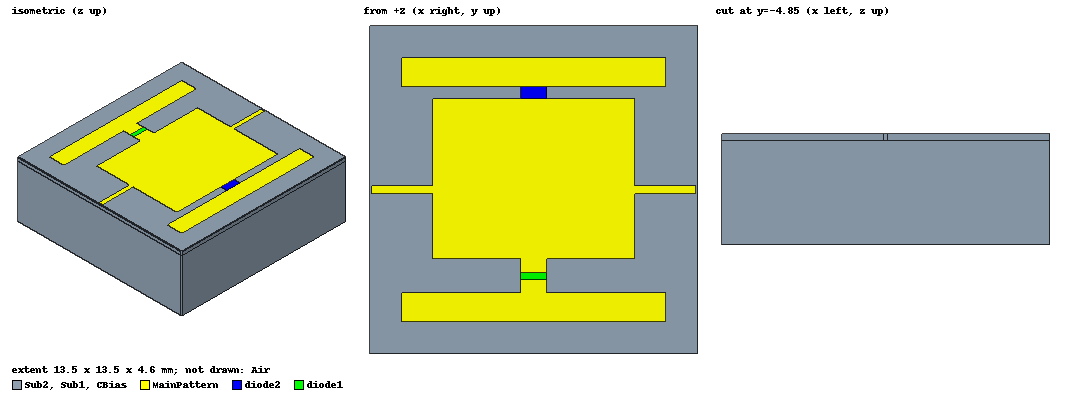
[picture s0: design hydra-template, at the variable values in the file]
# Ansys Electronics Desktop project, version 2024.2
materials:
  FR4_epoxy: permittivity=4.4 dielectric_loss_tangent=0.02
  pec: conductivity=1e+30
  vacuum: permittivity=1

design hydra-template (HFSS, HFSS Modal Network, model units mm)
options: Save_Adaptive_support_files
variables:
  p = 13.5mm  # Width or length of the square subsrate, spacing between elements
  h1 = 4.3mm  # Thickness of the lower layer subsrate. The surface uses two layers of substrate, one upper thiner for PCB wiring, and one thicker to create space between pattern and ground plane.
  h2 = 0.3mm  # Thickness of the upper layer substrate, above which we have surface pattern, below which we have biasing wires for diodes
  l1 = 10.9mm  # Length of the entire metallic patch, along Y axis, parallel to the polarization direction
  l3 = 1.1mm  # Width of the connection between center patch and two small arms. There are one upper arm and one lower arm next to the center patch, connected by PIN diodes, so that we can control reflected phase with diodes on or off.
  l4 = 8.3mm  # Width of the center patch
  w3 = 1.1mm  # Lower side of the Gap between center patch and upper arm
  w5 = 1.2mm  # Upper side Gap between center patch and upper arm
  w6 = 1.2mm  # Length of the two arms, above and below main patch
  rb = 0.1mm  # radius of the via, for biasing wire connection to diodes
  s = 0.3mm  # one third of the between two endsof the diode
  Long = 22mm  # The extra length or height of the simulation box, above and below the surface, typically around half of the wavelength
  phi_scan = 0deg  # incident angle, not used
  theta_scan = 0deg  # incident angle, not used
  wide = 0.15mm  # Width of the diode biasing wires, fixed, not affected by frequencies
  n = 1  # Scaling factor for many physical dimensions, not usd, stay fixed at 1!
  next = 0.1mm  # extra gap space for the diode at lower arm.
  capacitance2 = 0.21pF  # Capacitance of diode 2
  capacitance1 = 0pF  # capacitance of the diode 1, 0pF for turned on, 0.21pF for turned off
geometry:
  Sub2 [FR4_epoxy] = box(corner=(-p/2, -p/2, 0mm), size=(p, p, h1))
  GND = rectangle(corner=(-p/2, -p/2, 0), x_size=p, y_size=p)
  Sub1 [FR4_epoxy] = box(corner=(-p/2, -p/2, h1), size=(p, p, h2))
  left = rectangle(corner=(-l1/2, -l1/2, h1+h2), x_size=l1, y_size=w6)
  right = rectangle(corner=(-l1/2, l1/2-w6, h1+h2), x_size=l1, y_size=w6)
  CBias [pec] = cylinder(axis=Z, base_centre=(0, -l1/2+w6/2, h1), radius=rb, height=h2)
  CBias1 [pec] = cylinder(axis=Z, base_centre=(0, l1/2-w6/2, h1), radius=rb, height=h2)
  MainPattern = rectangle(corner=(-l4/2, -l1/2+w6+s+w3/2, h1+h2), x_size=l4, y_size=l1-w6*2-s-w3/2-s-next*2)
  land1 = rectangle(corner=(-l4/2, -l1/2+w5+s, h1+h2), x_size=(l4-l3)/2, y_size=w3)
  land2 = rectangle(corner=(l4/2-(l4-l3)/2, -l1/2+w5+s, h1+h2), x_size=(l4-l3)/2, y_size=w3)
  Air [vacuum] = box(corner=(-p/2, -p/2, -Long), size=(p, p, Long*2+h2+h1))
  line = rectangle(corner=(-p/2+wide/2, -wide, h1+h2), x_size=p-wide, y_size=wide*2)
  tu = rectangle(corner=(-l3/2, -l1/2+w6, h1+h2), x_size=l3, y_size=w3/2)
  [Sub2, GND, Sub1, CBias, CBias1, Air].scale(n, n, n)
  powercircle = circle(normal=Z, centre=(0mm, -l1/2+w6/2, h1), radius=rb+0.1mm)
  powerline = rectangle(corner=(-p/2+wide/2, -l1/2+w6/2-wide/2, h1), x_size=p-wide, y_size=wide)
  powerline1 = rectangle(corner=(-p/2+wide/2, -l1/2+w6/2-wide/2+wide*2+wide/2, h1), x_size=p-wide, y_size=wide)
  powerline2 = rectangle(corner=(-p/2+wide/2, -l1/2+w6/2-wide/2+wide*4+wide/2, h1), x_size=p-wide, y_size=wide)
  powerline3 = rectangle(corner=(-p/2+wide/2, -l1/2+w6/2-wide/2+wide*6+wide/2, h1), x_size=p-wide, y_size=wide)
  powerline4 = rectangle(corner=(-p/2+wide/2, -l1/2+w6/2-wide-wide*2, h1), x_size=p-wide, y_size=wide)
  powerline5 = rectangle(corner=(-p/2+wide/2, -l1/2+w6/2-wide-wide*4, h1), x_size=p-wide, y_size=wide)
  powerline6 = rectangle(corner=(-p/2+wide/2, -l1/2+w6/2-wide-wide*6, h1), x_size=p-wide, y_size=wide)
  powerline7 = rectangle(corner=(-p/2+wide/2, -l1/2+w6/2-wide-wide*8, h1), x_size=p-wide, y_size=wide)
  powercircle.unite(powerline, powerline1..powerline7)
  powercircle.scale(n, n, n)
  powercircle1 = circle(normal=Z, centre=(0mm, -l1/2+w6/2, h1), radius=rb+0.1mm)
  powerline8 = rectangle(corner=(-p/2+wide/2, -l1/2+w6/2-wide/2, h1), x_size=p-wide, y_size=wide)
  powerline9 = rectangle(corner=(-p/2+wide/2, -l1/2+w6/2-wide/2+wide*2+wide/2, h1), x_size=p-wide, y_size=wide)
  powerline10 = rectangle(corner=(-p/2+wide/2, -l1/2+w6/2-wide/2+wide*4+wide/2, h1), x_size=p-wide, y_size=wide)
  powerline11 = rectangle(corner=(-p/2+wide/2, -l1/2+w6/2-wide/2+wide*6+wide/2, h1), x_size=p-wide, y_size=wide)
  powerline12 = rectangle(corner=(-p/2+wide/2, -l1/2+w6/2-wide-wide*2, h1), x_size=p-wide, y_size=wide)
  powerline13 = rectangle(corner=(-p/2+wide/2, -l1/2+w6/2-wide-wide*4, h1), x_size=p-wide, y_size=wide)
  powerline14 = rectangle(corner=(-p/2+wide/2, -l1/2+w6/2-wide-wide*6, h1), x_size=p-wide, y_size=wide)
  powerline15 = rectangle(corner=(-p/2+wide/2, -l1/2+w6/2-wide-wide*8, h1), x_size=p-wide, y_size=wide)
  powercircle1.unite(powerline8..powerline15)
  powercircle1.rotate(axis=Z, angle=180deg)
  powercircle1.scale(n, n, n)
  diode2 = rectangle(corner=(-l3/2, l1/2-w6-next*2-s, h1+h2), x_size=l3, y_size=s+next*2)
  diode2.scale(n, n, n)
  diode1 = rectangle(corner=(-l3/2, -l1/2+w6+w3/2, h1+h2), x_size=l3, y_size=s)
  diode1.scale(n, n, n)
  MainPattern.subtract(land1, land2)
  MainPattern.unite(tu, left, line, right)
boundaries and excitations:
  PerfE1: Perfect E Objects=[GND, MainPattern]
  Master1: Primary Faces=Air.face(+x) CoordSysVector{(6.75, -6.75, -22) -> (6.75, 6.75, -22)} ReverseV
  Slave1: Secondary Faces=Air.face(-x) CoordSysVector{(-6.75, -6.75, -22) -> (-6.75, 6.75, -22)} primary=Master1 PhaseDelay=UseScanAngle Phi=phi_scan Theta=theta_scan
  Master2: Primary Faces=Air.face(-y) CoordSysVector{(6.75, -6.75, -22) -> (-6.75, -6.75, -22)}
  Slave2: Secondary Faces=Air.face(+y) CoordSysVector{(6.75, 6.75, -22) -> (-6.75, 6.75, -22)} ReverseV primary=Master2 PhaseDelay=UseScanAngle Phi=phi_scan Theta=theta_scan
  PerfE2: Perfect E Objects=[powercircle, powercircle1]
  LumpRLC3: Lumped RLC Objects=diode2 CurrentLine{(0, 4.25, 4.6) -> (0, 3.75, 4.6)} RLC_Type=Serial Resistance=1ohm Inductance=0.7nH Capacitance=capacitance2
  LumpRLC5: Lumped RLC Objects=diode1 CurrentLine{(0, -3.7, 4.6) -> (0, -3.4, 4.6)} RLC_Type=Serial Resistance=1ohm Inductance=0.7nH Capacitance=capacitance1
  FloquetPort1: Floquet Port Faces=Air.face(+z) NumModes=2 DeembedDist=Long*n Modes{Mode1{CharImp=Zpi} Mode2{CharImp=Zpi}} PhaseDelay=UseScanAngle Phi=phi_scan Theta=theta_scan LatticeAVector{(-6.75, -6.75, 26.6) -> (6.75, -6.75, 26.6)} LatticeBVector{(-6.75, -6.75, 26.6) -> (-6.75, 6.75, 26.6)} ModesCalculator{Frequency=2.44GHz FrequencyChanged PhiStart=0deg PhiStop=0deg PhiStep=0deg ThetaStart=0deg ThetaStop=0deg ThetaStep=0deg} ModesList{Mode{ModeNumber=1 IndexM=0 IndexN=0 KC2=0 PropagationState=Propagating Attenuation=0 PolarizationState=TE AffectsRefinement} Mode{ModeNumber=2 IndexM=0 IndexN=0 KC2=0 PropagationState=Propagating Attenuation=0 PolarizationState=TM AffectsRefinement}}
  FloquetPort2: Floquet Port Faces=Air.face(-z) NumModes=2 DeembedDist=Long*n Modes{Mode1{CharImp=Zpi} Mode2{CharImp=Zpi}} PhaseDelay=UseScanAngle Phi=phi_scan Theta=theta_scan LatticeAVector{(-6.75, -6.75, -22) -> (6.75, -6.75, -22)} LatticeBVector{(-6.75, -6.75, -22) -> (-6.75, 6.75, -22)} ModesCalculator{Frequency=2.44GHz FrequencyChanged PhiStart=0deg PhiStop=0deg PhiStep=0deg ThetaStart=0deg ThetaStop=0deg ThetaStep=0deg} ModesList{Mode{ModeNumber=1 IndexM=0 IndexN=0 KC2=0 PropagationState=Propagating Attenuation=0 PolarizationState=TE AffectsRefinement} Mode{ModeNumber=2 IndexM=0 IndexN=0 KC2=0 PropagationState=Propagating Attenuation=0 PolarizationState=TM AffectsRefinement}}
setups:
  Setup1: HfssDriven Frequency=3.5GHz MaxDeltaS=0.02 MaximumPasses=20 MinimumPasses=1 MinimumConvergedPasses=1 PercentRefinement=30 BasisOrder=1 PortAccuracy=2 DrivenSolverType="Direct Solver"
    sweep Sweep: 3GHz to 4GHz step 0.01GHz; Type=Interpolating InterpTolerance=0.5 InterpMaxSolns=250 InterpUsePortImped=false PassivityErrorTolerance=0.0001
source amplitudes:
  FloquetPort1:1: 1W 0deg
  FloquetPort1:2, FloquetPort2:1, FloquetPort2:2: 0W 0deg
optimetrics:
  ParametricSetup1: Parametric Sim._Setups=[Setup1]
    sweep capacitance1: LIN 0pF 0.21pF 0.21pF
    sweep capacitance2: LIN 0pF 0.21pF 0.21pF
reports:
  S Parameter Plot 1: dB(S(FloquetPort1:1,FloquetPort1:1)) vs Freq on Setup1 : Sweep [capacitance2=all capacitance1=all]; markers MX1 at x=1.3279649e+09, MX2 at x=4.4816984e+09
  S Parameter Plot 2: cang_deg(S(FloquetPort1:1,FloquetPort1:1)) vs Freq on Setup1 : Sweep [capacitance2=all capacitance1=all]; markers MX1 at x=3.5498771e+09, MX2 at x=3.5362096e+09, MX3 at x=3.2963145e+09
